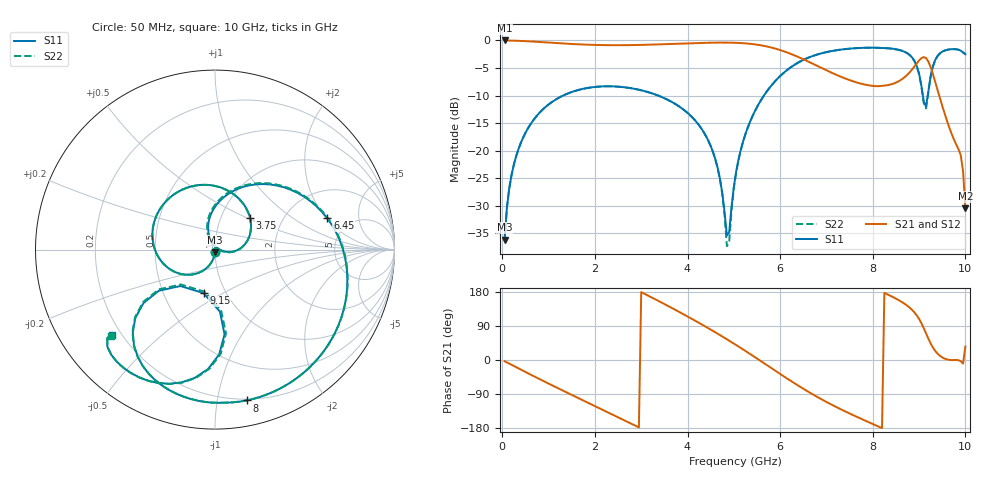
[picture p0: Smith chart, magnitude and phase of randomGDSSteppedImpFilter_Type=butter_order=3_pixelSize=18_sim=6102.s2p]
! freq	dB(S11)	phase(S11)	dB(S12)	phase(S12)
!  dB(S21)	phase(S21)	dB(S22)	phase(S22)
!S-par simulation data
#  GHz  S  DB  R 50
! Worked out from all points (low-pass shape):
!   200 points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, 50 MHz to 10 GHz, reference 50 ohm
!   highest |S21| = -0.01 dB at 50 MHz (marker M1); lowest = -30.5 dB at 10 GHz (marker M2)
!   |S21| within 3 dB of the highest: start of sweep to 6.392 GHz
!   lowest |S11| = -36.1 dB at 50 MHz (marker M3), VSWR 1.03, Z = 50 - j1.56 ohm
!   |S11| at or under -10 dB: start of sweep to 1.314 GHz; 3.363 GHz to 5.649 GHz (2.286 GHz wide, 50.7 % of centre); 9.081 GHz to 9.186 GHz (104.8 MHz wide, 1.15 % of centre)
!   |S22| runs from -37.3 to -1.3 dB; largest |S21 - S12| = 0
!   S11 on the Smith chart (normalised r, x): 50 MHz: 1.00, -0.03; 3.75 GHz: 1.37, +0.52; 6.45 GHz: 3.40, +2.04; 8 GHz: 0.19, -1.21; 9.15 GHz: 0.79, -0.41; 10 GHz: 0.16, -0.35
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0.05  -36.11 -90.8  -0.01 -3.2  -0.01 -3.2  -36.11 -90.8
0.2  -24.40 -102.4  -0.04 -12.7  -0.04 -12.7  -24.40 -102.4
0.5  -16.77 -122.0  -0.14 -31.6  -0.14 -31.6  -16.77 -121.9
1.1  -11.01 -159.1  -0.45 -68.3  -0.45 -68.3  -11.01 -158.8
1.75  -8.77 162.4  -0.75 -106.8  -0.75 -106.8  -8.77 162.8
2.65  -8.51 109.6  -0.87 -159.7  -0.87 -159.7  -8.51 110.1
3.4  -10.12 64.0  -0.72 154.1  -0.72 154.1  -10.12 64.5
3.75  -11.60 42.0  -0.62 131.5  -0.62 131.5  -11.60 42.4
4.55  -20.24 -7.0  -0.41 76.7  -0.41 76.7  -20.28 -8.0
4.75  -27.64 -8.9  -0.40 62.1  -0.40 62.1  -27.88 -13.0
4.85  -35.37 28.8  -0.40 54.7  -0.40 54.7  -37.31 23.2
5.05  -23.80 113.5  -0.44 39.5  -0.44 39.5  -23.93 118.1
5.65  -9.99 77.0  -0.99 -8.3  -0.99 -8.3  -10.00 78.7
6.45  -3.75 15.5  -3.23 -72.2  -3.23 -72.2  -3.75 16.4
6.7  -2.84 -2.2  -4.21 -90.4  -4.21 -90.4  -2.84 -1.4
8  -1.32 -78.2  -8.25 -168.9  -8.25 -168.9  -1.33 -78.0
8.35  -1.44 -96.6  -8.07 171.3  -8.07 171.3  -1.44 -96.5
8.9  -3.73 -134.7  -4.73 125.4  -4.73 125.4  -3.75 -135.1
9.15  -12.01 -104.8  -3.21 70.4  -3.21 70.4  -12.34 -104.2
9.45  -2.35 -104.1  -10.47 11.1  -10.47 11.1  -2.36 -103.6
9.9  -1.86 -138.0  -20.82 -3.4  -20.82 -3.4  -1.83 -137.6
10  -2.52 -140.3  -30.48 35.3  -30.48 35.3  -2.44 -140.5
